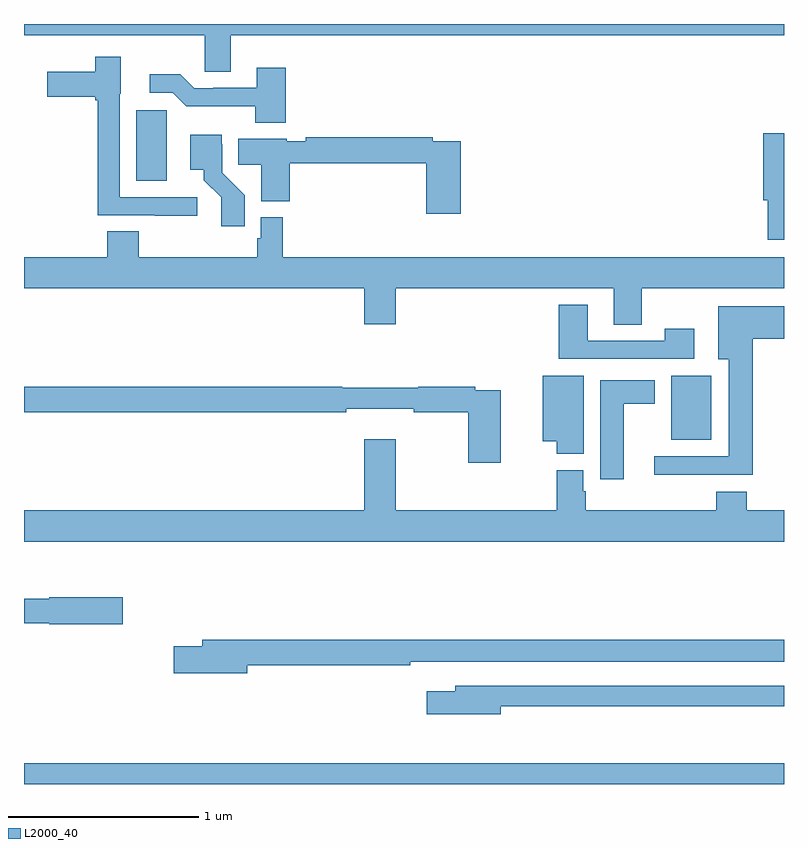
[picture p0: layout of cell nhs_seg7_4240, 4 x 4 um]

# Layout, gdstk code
import gdstk
lib = gdstk.Library(unit=1e-6, precision=1e-09)
def R(c, l, rs):  # rectangles x0, y0, x1, y1
    for r in rs: c.add(gdstk.rectangle(r[:2], r[2:], *l))
def P(c, l, *ps):  # polygons
    for p in ps: c.add(gdstk.Polygon(p, *l))
L2000_40 = (2000, 40)

nhs_seg7_4240 = lib.new_cell('nhs_seg7_4240')
R(nhs_seg7_4240, L2000_40, [(379,1006,383,1006.108), (382.406,1007.813,382.618,1008.148), (379.592,1009.174,379.75,1009.545)])
P(nhs_seg7_4240, L2000_40, [(380.089,1009.94),(383,1009.94),(383,1010),(379,1010),(379,1009.94),(379.95,1009.94),(379.95,1009.75),(380.089,1009.75)],
  [(379.912,1009.089),(379.503,1009.089),(379.503,1009.632),(379.51,1009.632),(379.51,1009.828),(379.374,1009.828),(379.374,1009.75),(379.122,1009.75),(379.122,1009.616),(379.374,1009.616),(379.374,1009.598),(379.387,1009.598),(379.387,1008.993),(379.687,1008.993),(379.687,1008.991),(379.912,1008.991)],
  [(380.378,1009.771),(380.225,1009.771),(380.225,1009.665),(379.996,1009.665),(379.996,1009.662),(379.896,1009.662),(379.823,1009.735),(379.662,1009.735),(379.662,1009.638),(379.782,1009.638),(379.855,1009.566),(380.218,1009.566),(380.218,1009.481),(380.378,1009.481)],
  [(383,1009.426),(382.892,1009.426),(382.892,1009.073),(382.915,1009.073),(382.915,1008.864),(383,1008.864)],
  [(380.162,1009.098),(380.043,1009.217),(380.043,1009.368),(380.041,1009.368),(380.041,1009.417),(379.874,1009.417),(379.874,1009.232),(379.946,1009.232),(379.946,1009.177),(380.037,1009.087),(380.037,1008.936),(380.162,1008.936)],
  [(381.299,1009.383),(381.152,1009.383),(381.152,1009.403),(380.482,1009.403),(380.482,1009.383),(380.382,1009.383),(380.382,1009.396),(380.128,1009.396),(380.128,1009.258),(380.249,1009.258),(380.249,1009.067),(380.399,1009.067),(380.399,1009.267),(381.116,1009.267),(381.116,1009.002),(381.299,1009.002)],
  [(382.251,1008.608),(383,1008.608),(383,1008.772),(380.363,1008.772),(380.363,1008.982),(380.247,1008.982),(380.247,1008.873),(380.227,1008.873),(380.227,1008.772),(379.604,1008.772),(379.604,1008.908),(379.439,1008.908),(379.439,1008.772),(379,1008.772),(379,1008.608),(380.792,1008.608),(380.792,1008.42),(380.956,1008.42),(380.956,1008.608),(382.103,1008.608),(382.103,1008.418),(382.251,1008.418)],
  [(382.528,1008.397),(382.372,1008.397),(382.372,1008.333),(381.967,1008.333),(381.967,1008.523),(381.815,1008.523),(381.815,1008.237),(382.528,1008.237)],
  [(382.835,1008.344),(383,1008.344),(383,1008.514),(382.655,1008.514),(382.655,1008.236),(382.709,1008.236),(382.709,1007.724),(382.317,1007.724),(382.317,1007.627),(382.835,1007.627)],
  [(381.946,1008.148),(381.731,1008.148),(381.731,1007.804),(381.805,1007.804),(381.805,1007.737),(381.946,1007.737)],
  [(382.156,1008.002),(382.321,1008.002),(382.321,1008.124),(382.034,1008.124),(382.034,1007.604),(382.156,1007.604)],
  [(381.508,1008.072),(381.374,1008.072),(381.374,1008.092),(381.074,1008.092),(381.074,1008.085),(380.674,1008.085),(380.674,1008.092),(379,1008.092),(379,1007.956),(380.696,1007.956),(380.696,1007.975),(381.052,1007.975),(381.052,1007.956),(381.338,1007.956),(381.338,1007.691),(381.508,1007.691)],
  [(383,1007.44),(382.803,1007.44),(382.803,1007.539),(382.643,1007.539),(382.643,1007.44),(381.956,1007.44),(381.956,1007.541),(381.943,1007.541),(381.943,1007.652),(381.803,1007.652),(381.803,1007.44),(380.956,1007.44),(380.956,1007.815),(380.792,1007.815),(380.792,1007.44),(379,1007.44),(379,1007.276),(383,1007.276)],
  [(379.519,1006.983),(379.134,1006.983),(379.134,1006.975),(379,1006.975),(379,1006.846),(379.134,1006.846),(379.134,1006.841),(379.519,1006.841)],
  [(380.176,1006.624),(381.032,1006.624),(381.032,1006.644),(383,1006.644),(383,1006.76),(379.937,1006.76),(379.937,1006.724),(379.788,1006.724),(379.788,1006.582),(380.176,1006.582)],
  [(381.508,1006.41),(383,1006.41),(383,1006.518),(381.269,1006.518),(381.269,1006.489),(381.12,1006.489),(381.12,1006.367),(381.508,1006.367)])

lib.write_gds('nhs_seg7_4240.gds')
